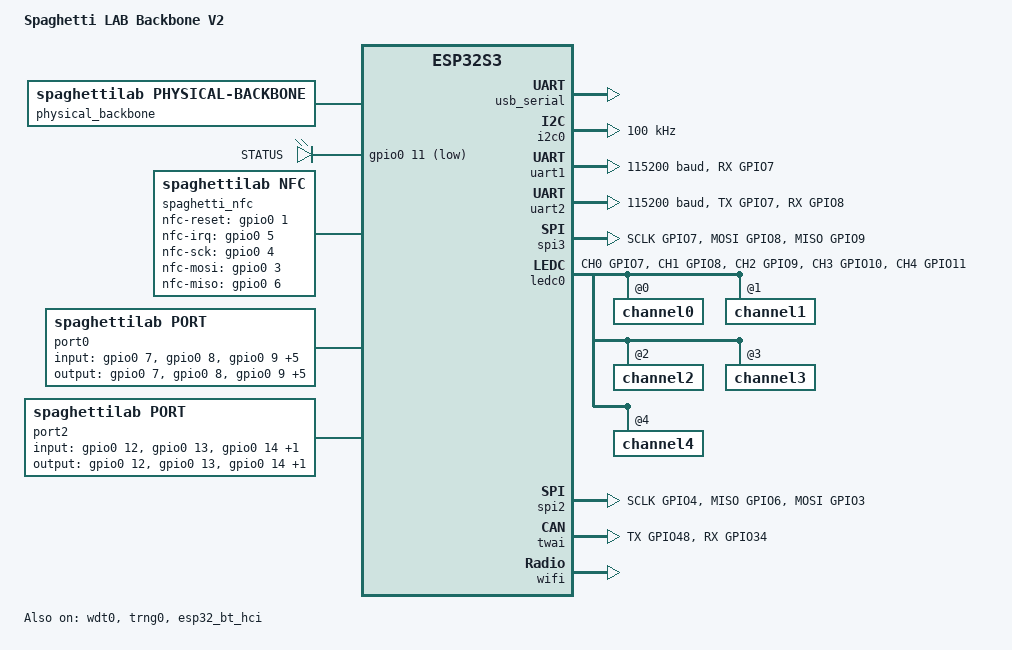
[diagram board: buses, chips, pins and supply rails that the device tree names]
/*
 * Spaghetti LAB Backbone V2, ESP32-S3-MINI-1 (U19) PROCPU.
 * Pins from hardware/backbone/backbone.kicad_sch.
 */

/dts-v1/;

#include <espressif/esp32s3/esp32s3_mini_n8.dtsi>
#include <espressif/partitions_0x0_default.dtsi>
#include <zephyr/dt-bindings/pinctrl/esp-pinctrl-common.h>
#include <zephyr/dt-bindings/pinctrl/esp32s3-pinctrl.h>
#include <zephyr/dt-bindings/pinctrl/esp32s3-gpio-sigmap.h>

/ {
	physical_backbone: physical-backbone {
		compatible = "spaghettilab,physical-backbone";
		layout-version = <2>;
		mcu-id = <1>;
		nfc-antennas = <2>;
		user-port = <&port0>;
	};
	model = "Spaghetti LAB Backbone V2";
	compatible = "spaghettilab,backbone-v2", "espressif,esp32s3";

	chosen {
		zephyr,sram = &sram1;
		zephyr,console = &usb_serial;
		zephyr,shell-uart = &usb_serial;
		zephyr,flash = &flash0;
		zephyr,code-partition = &slot0_partition;
		zephyr,uart-mcumgr = &uart1;
		zephyr,bt-hci = &esp32_bt_hci;
	};

	aliases {
		i2c-0 = &i2c0;
		led0 = &status_led;
		watchdog0 = &wdt0;
	};

	leds {
		compatible = "gpio-leds";

		/*
		 * D5 white status LED, cathode on GPIO11, active low.
		 * Driven by LEDC channel 4; there is no RGB / SK6812.
		 */
		status_led: status_led {
			gpios = <&gpio0 11 GPIO_ACTIVE_LOW>;
			label = "STATUS";
		};
	};

	/*
	 * ST25R100 U15 control lines. SPI wires live on spi2 / nfc_spi_default.
	 * RST GPIO1, IRQ GPIO5, CS GPIO2 (cs-gpios on spi2).
	 */
	spaghetti_nfc: spaghetti_nfc {
		compatible = "spaghettilab,nfc";
		nfc-reset-gpios = <&gpio0 1 GPIO_ACTIVE_HIGH>;
		nfc-irq-gpios = <&gpio0 5 GPIO_ACTIVE_HIGH>;
		nfc-sck-gpios = <&gpio0 4 GPIO_ACTIVE_HIGH>;
		nfc-mosi-gpios = <&gpio0 3 GPIO_ACTIVE_HIGH>;
		nfc-miso-gpios = <&gpio0 6 GPIO_ACTIVE_HIGH>;
	};

	spaghetti_ports {
		compatible = "simple-bus";
		#address-cells = <1>;
		#size-cells = <0>;

		/* V2 A0-A3: GPIO7-10. I2C/maintenance on A0/A1. */
		port0: port@0 {
			compatible = "spaghettilab,port";
			reg = <0>;
			i2c = <&i2c0>;
			uart = <&uart2>;
			spi = <&spi3>;
			pwm = <&ledc0>;
			input-gpios = <&gpio0 7 GPIO_ACTIVE_HIGH>,
				      <&gpio0 8 GPIO_ACTIVE_HIGH>,
				      <&gpio0 9 GPIO_ACTIVE_HIGH>,
				      <&gpio0 10 GPIO_ACTIVE_HIGH>, <&gpio0 12 GPIO_ACTIVE_HIGH>,
                       <&gpio0 13 GPIO_ACTIVE_HIGH>, <&gpio0 14 GPIO_ACTIVE_HIGH>, <&gpio0 15 GPIO_ACTIVE_HIGH>;
			output-gpios = <&gpio0 7 GPIO_ACTIVE_HIGH>,
				       <&gpio0 8 GPIO_ACTIVE_HIGH>,
				       <&gpio0 9 GPIO_ACTIVE_HIGH>,
				       <&gpio0 10 GPIO_ACTIVE_HIGH>, <&gpio0 12 GPIO_ACTIVE_HIGH>,
                       <&gpio0 13 GPIO_ACTIVE_HIGH>, <&gpio0 14 GPIO_ACTIVE_HIGH>, <&gpio0 15 GPIO_ACTIVE_HIGH>;
			status = "okay";
		};

		/* V2 A4-A7: GPIO12-15, exposed as GPIO channels 0-3 on port 2. */
		port2: port@2 {
			compatible = "spaghettilab,port";
			reg = <2>;
			input-gpios = <&gpio0 12 GPIO_ACTIVE_HIGH>, <&gpio0 13 GPIO_ACTIVE_HIGH>,
			              <&gpio0 14 GPIO_ACTIVE_HIGH>, <&gpio0 15 GPIO_ACTIVE_HIGH>;
			output-gpios = <&gpio0 12 GPIO_ACTIVE_HIGH>, <&gpio0 13 GPIO_ACTIVE_HIGH>,
			               <&gpio0 14 GPIO_ACTIVE_HIGH>, <&gpio0 15 GPIO_ACTIVE_HIGH>;
			status = "okay";
		};

		/* SN65HVD230 U2: TX GPIO48, RX GPIO34. */
		port1: port@1 {
			compatible = "spaghettilab,port";
			reg = <1>;
			can = <&twai>;
			status = "okay";
		};
	};

	spaghetti_flows {
		compatible = "simple-bus";
		#address-cells = <1>;
		#size-cells = <0>;

		flow0: flow@0 {
			compatible = "spaghettilab,flow";
			reg = <0>;
			port = <&port0>;
			direction = "bidirectional";
			signal-count = <5>;
			function-bay-count = <0>;
			status = "okay";
		};

		flow2: flow@2 {
			compatible = "spaghettilab,flow";
			reg = <2>;
			port = <&port2>;
			direction = "bidirectional";
			signal-count = <5>;
			function-bay-count = <0>;
			status = "okay";
		};

		flow1: flow@1 {
			compatible = "spaghettilab,flow";
			reg = <1>;
			port = <&port1>;
			direction = "bidirectional";
			signal-count = <5>;
			function-bay-count = <0>;
			status = "okay";
		};
	};

	maintenance_link0: maintenance-link {
		compatible = "spaghettilab,maintenance-link";
		normal-bus = <&i2c0>;
		maintenance-uart = <&uart1>;
		bootstrap-window-ms = <500>;
		status = "okay";
	};
};

&pinctrl {
	user_uart_default: user_uart_default { group1 { pinmux = <UART2_TX_GPIO7>, <UART2_RX_GPIO8>; }; };
	user_spi_default: user_spi_default { group1 { pinmux = <SPIM3_SCLK_GPIO7>, <SPIM3_MOSI_GPIO8>, <SPIM3_MISO_GPIO9>; }; };
	user_pwm_default: user_pwm_default { group1 { pinmux = <LEDC_CH0_GPIO7>, <LEDC_CH1_GPIO8>, <LEDC_CH2_GPIO9>, <LEDC_CH3_GPIO10>, <LEDC_CH4_GPIO11>; output-enable; }; };
	spaghetti_i2c0_default: spaghetti_i2c0_default {
		group1 {
			pinmux = <I2C0_SDA_GPIO7>, <I2C0_SCL_GPIO8>;
			bias-pull-up;
			drive-open-drain;
			output-high;
		};
	};

	spaghetti_uart1_maintenance: spaghetti_uart1_maintenance {
		group1 {
			pinmux = <UART1_RX_GPIO7>, <UART1_TX_GPIO8>;
		};
	};

	spaghetti_uart1_probe: spaghetti_uart1_probe {
		group1 {
			pinmux = <UART1_RX_GPIO7>;
			bias-pull-up;
		};
	};

	/* ST25R100 U15: SCK GPIO4, MOSI GPIO3, MISO GPIO6. CS GPIO2 is cs-gpios. */
	nfc_spi_default: nfc_spi_default {
		group1 {
			pinmux = <SPIM2_SCLK_GPIO4>, <SPIM2_MISO_GPIO6>;
		};

		group2 {
			pinmux = <SPIM2_MOSI_GPIO3>;
			output-low;
		};
	};

	spaghetti_twai_default: spaghetti_twai_default {
		group1 {
			pinmux = <TWAI_TX_GPIO48>, <TWAI_RX_GPIO34>;
		};
	};
};

&usb_serial {
	status = "okay";
};

&i2c0 {
	status = "okay";
	clock-frequency = <I2C_BITRATE_STANDARD>;
	pinctrl-0 = <&spaghetti_i2c0_default>;
	pinctrl-names = "default";
};

&uart1 {
	status = "okay";
	current-speed = <115200>;
	pinctrl-0 = <&spaghetti_uart1_probe>;
	pinctrl-1 = <&spaghetti_uart1_maintenance>;
	pinctrl-names = "default", "sleep";
};

&uart2 { status = "okay"; current-speed = <115200>; pinctrl-0 = <&user_uart_default>; pinctrl-names = "default"; };
&spi3 { #address-cells = <1>; #size-cells = <0>; status = "okay"; pinctrl-0 = <&user_spi_default>; pinctrl-names = "default"; cs-gpios = <&gpio0 10 GPIO_ACTIVE_LOW>; };
&ledc0 {
	status = "okay"; pinctrl-0 = <&user_pwm_default>; pinctrl-names = "default";
	#address-cells = <1>; #size-cells = <0>;
	channel0@0 { reg = <0>; timer = <0>; };
	channel1@1 { reg = <1>; timer = <0>; };
	channel2@2 { reg = <2>; timer = <0>; };
	channel3@3 { reg = <3>; timer = <0>; };
	channel4@4 { reg = <4>; timer = <2>; inverted; };
};

&spi2 {
	#address-cells = <1>;
	#size-cells = <0>;
	status = "okay";
	pinctrl-0 = <&nfc_spi_default>;
	pinctrl-names = "default";
	cs-gpios = <&gpio0 2 GPIO_ACTIVE_LOW>;
};

&twai {
	status = "okay";
	pinctrl-0 = <&spaghetti_twai_default>;
	pinctrl-names = "default";
};

&gpio0 {
	status = "okay";
};

&gpio1 {
	status = "okay";
};

&wdt0 {
	status = "okay";
};

&trng0 {
	status = "okay";
};

&wifi {
	status = "okay";
};

&esp32_bt_hci {
	status = "okay";
};
